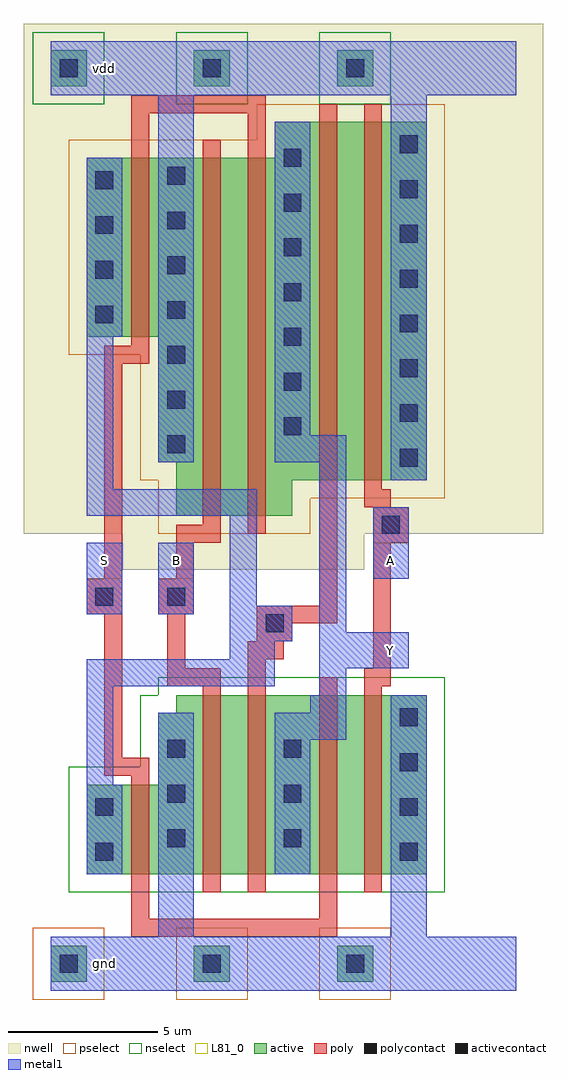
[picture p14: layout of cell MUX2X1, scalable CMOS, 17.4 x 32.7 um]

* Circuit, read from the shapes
.subckt MUX2X1 A B S Y gnd vdd
M1 gnd S n1 gnd nfet w=3u l=0.6u
M2 n2 B gnd gnd nfet w=6u l=0.6u
M3 Y n1 n2 gnd nfet w=6u l=0.6u
M4 n3 S Y gnd nfet w=6u l=0.6u
M5 gnd A n3 gnd nfet w=6u l=0.6u
M6 vdd S n1 vdd pfet w=6u l=0.6u
M7 n4 B vdd vdd pfet w=12u l=0.6u
M8 Y S n4 vdd pfet w=12u l=0.6u
M9 n5 n1 Y vdd pfet w=12u l=0.6u
M10 vdd A n5 vdd pfet w=12u l=0.6u
.ends

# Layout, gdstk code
import gdstk
lib = gdstk.Library(unit=1e-6, precision=1e-08)
def R(c, l, rs):  # rectangles x0, y0, x1, y1
    for r in rs: c.add(gdstk.rectangle(r[:2], r[2:], *l))
def A(c, l, x, y, w, h, nx, ny, dx, dy):  # array of equal rectangles
    R(c, l, [(x+i*dx, y+j*dy, x+i*dx+w, y+j*dy+h) for i in range(nx) for j in range(ny)])
nwell = (42, 0)
active = (43, 0)
pselect = (44, 0)
nselect = (45, 0)
poly = (46, 0)
polycontact = (47, 0)
activecontact = (48, 0)
metal1 = (49, 0)
L81_0 = (81, 0)

mux2x1 = lib.new_cell('MUX2X1')
R(mux2x1, nwell, [(1.8,13.2,9.9,14.4), (-1.5,14.4,15.9,31.5)])
A(mux2x1, active, -0.6, -0.6, 1.2, 1.2, 3, 2, 4.8, 30)
R(mux2x1, active, [(0.6,3,12,6), (3,6,12,8.4), (3.6,8.4,12,9), (3.6,15,7.5,16.2), (3.6,16.2,12,16.8), (3,16.8,12,21), (0.6,21,12,27), (6.9,27,12,28.2)])
A(mux2x1, pselect, -1.2, -1.2, 2.4, 2.4, 3, 1, 4.8, 0)
R(mux2x1, pselect, [(3,14.4,8.1,15.6), (3,15.6,12.6,16.2), (2.4,16.2,12.6,20.4), (0,20.4,12.6,27.6), (6.3,27.6,12.6,28.8)])
A(mux2x1, nselect, -1.2, 28.8, 2.4, 2.4, 3, 1, 4.8, 0)
R(mux2x1, nselect, [(0,2.4,12.6,6.6), (2.4,6.6,12.6,9), (3,9,12.6,9.6)])
R(mux2x1, poly, [(2.1,0.9,9,1.5), (2.1,1.5,2.7,6.3), (8.4,1.5,9,9.6), (4.5,2.4,5.1,9.3), (6,2.4,6.6,10.2), (9.9,2.4,10.5,9.3), (1.2,6.3,2.7,6.9), (1.2,6.9,1.8,11.7), (3.3,9.3,5.1,9.9), (9.9,9.3,10.8,9.9), (3.3,9.9,3.9,11.7), (10.2,9.9,10.8,14.1), (6,10.2,7.2,10.8), (6.3,10.8,7.5,11.4), (6.3,11.4,9,12), (0.6,11.7,1.8,12.9), (3,11.7,4.2,12.9), (8.4,12,9,28.8), (1.2,12.9,1.8,20.1), (3.6,12.9,4.2,14.1), (3.6,14.1,5.1,14.7), (10.2,14.1,11.4,15.3), (6,14.4,6.6,28.5), (4.5,14.7,5.1,27.6), (9.9,15.3,10.8,15.9), (9.9,15.9,10.5,28.8), (1.2,20.1,2.7,20.7), (2.1,20.7,2.7,28.5), (2.1,28.5,6.6,29.1)])
R(mux2x1, polycontact, [(6.6,11.1,7.2,11.7), (0.9,12,1.5,12.6), (3.3,12,3.9,12.6), (10.5,14.4,11.1,15)])
A(mux2x1, activecontact, -0.3, -0.3, 0.6, 0.6, 3, 2, 4.8, 30)
A(mux2x1, activecontact, 11.1, 3.45, 0.6, 0.6, 1, 4, 0, 1.5)
A(mux2x1, activecontact, 3.3, 3.9, 0.6, 0.6, 1, 3, 0, 1.5)
A(mux2x1, activecontact, 7.2, 3.9, 0.6, 0.6, 1, 3, 0, 1.5)
A(mux2x1, activecontact, 11.1, 16.65, 0.6, 0.6, 1, 8, 0, 1.5)
A(mux2x1, activecontact, 3.3, 17.1, 0.6, 0.6, 1, 7, 0, 1.5)
A(mux2x1, activecontact, 7.2, 17.7, 0.6, 0.6, 1, 7, 0, 1.5)
A(mux2x1, activecontact, 0.9, 21.45, 0.6, 0.6, 1, 4, 0, 1.5)
R(mux2x1, activecontact, [(0.9,3.45,1.5,4.05), (0.9,4.95,1.5,5.55)])
R(mux2x1, metal1, [(-0.6,-0.9,15,0.9), (3,0.9,4.2,8.4), (10.8,0.9,12,9), (0.6,3,1.8,6), (6.9,3,8.1,7.5), (0.6,6,1.5,9.3), (6.9,7.5,9.3,8.4), (8.1,8.4,9.3,9), (8.4,9,9.3,9.9), (0.6,9.3,6.9,10.2), (8.4,9.9,11.4,11.1), (5.4,10.2,6.9,10.8), (5.4,10.8,7.5,12), (8.4,11.1,9.3,16.8), (0.6,11.7,1.8,14.1), (3,11.7,4.2,14.1), (5.4,12,6.3,15), (10.2,12.9,11.4,15.3), (0.6,15,6.3,15.9), (0.6,15.9,1.5,21), (10.8,16.2,12,29.1), (3,16.8,4.2,29.1), (6.9,16.8,9.3,17.7), (6.9,17.7,8.1,28.2), (0.6,21,1.8,27), (-0.6,29.1,15,30.9)])
R(mux2x1, L81_0, [(10.2,9.9,11.4,11.1), (0.6,12.9,1.8,14.1), (3,12.9,4.2,14.1), (10.2,12.9,11.4,14.1)])
mux2x1.add(gdstk.Label('S', (1.2,13.5), layer=109, texttype=0))
mux2x1.add(gdstk.Label('vdd', (1.2,30), layer=109, texttype=0))
mux2x1.add(gdstk.Label('gnd', (1.2,0), layer=109, texttype=0))
mux2x1.add(gdstk.Label('Y', (10.8,10.5), layer=109, texttype=0))
mux2x1.add(gdstk.Label('A', (10.8,13.5), layer=109, texttype=0))
mux2x1.add(gdstk.Label('B', (3.6,13.5), layer=109, texttype=0))

lib.write_gds('MUX2X1.gds')
